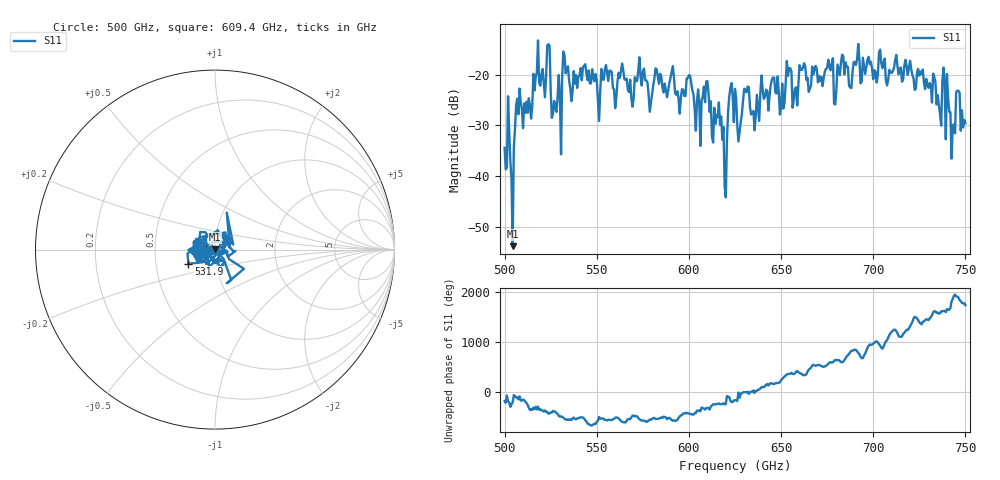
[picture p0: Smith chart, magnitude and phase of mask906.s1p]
!Created with skrf (http://scikit-rf.org).
# GHz S MA R 50.0
!freq magS11 angS11
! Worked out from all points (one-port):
!   401 points, 500 GHz to 750 GHz, reference 50 ohm
!   lowest |S11| = -53.8 dB at 504.4 GHz (marker M1), VSWR 1.00, Z = 49.8 + j0.0784 ohm
!   |S11| at or under -10 dB: start of sweep to end of sweep
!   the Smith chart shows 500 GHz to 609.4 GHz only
!   S11 on the Smith chart (normalised r, x): 500 GHz: 0.96, -0.00; 531.9 GHz: 0.73, -0.12; 609.4 GHz: 1.14, +0.12
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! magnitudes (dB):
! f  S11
! 500 GHz  -34.4
! 504.4 GHz  -53.8
! 507.5 GHz  -27.8
! 513.8 GHz  -26.1
! 516.9 GHz  -20.5
! 523.8 GHz  -14.0
! 526.9 GHz  -25.2
! 531.2 GHz  -20.2
! 531.9 GHz  -15.5
! 562.5 GHz  -20.7
! 593.8 GHz  -23.3
! 600 GHz  -20.1
! 605 GHz  -22.9
! 609.4 GHz  -21.4
! 617.5 GHz  -28.2
! 619.4 GHz  -42.0
! 622.5 GHz  -22.6
! 625 GHz  -22.8
! 627.5 GHz  -31.2
! 631.2 GHz  -23.5
! 635 GHz  -27.2
! 645.6 GHz  -20.6
! 650.6 GHz  -21.8
! 654.4 GHz  -18.8
! 656.2 GHz  -26.5
! 687.5 GHz  -22.5
! 718.8 GHz  -20.1
! 750 GHz  -29.5
